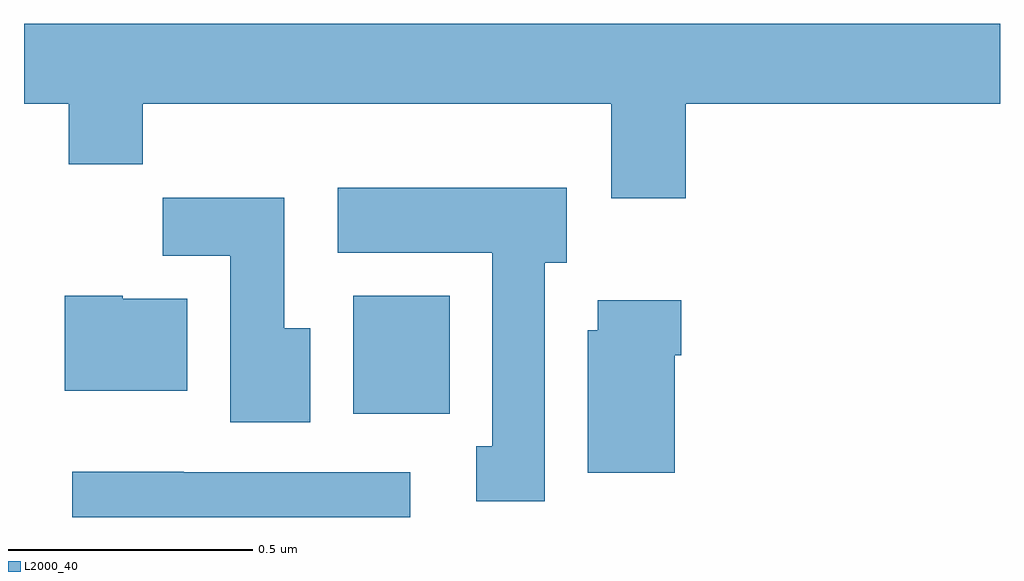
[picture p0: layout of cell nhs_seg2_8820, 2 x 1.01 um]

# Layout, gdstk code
import gdstk
lib = gdstk.Library(unit=1e-6, precision=1e-09)
def R(c, l, rs):  # rectangles x0, y0, x1, y1
    for r in rs: c.add(gdstk.rectangle(r[:2], r[2:], *l))
def P(c, l, *ps):  # polygons
    for p in ps: c.add(gdstk.Polygon(p, *l))
L2000_40 = (2000, 40)

nhs_seg2_8820 = lib.new_cell('nhs_seg2_8820')
R(nhs_seg2_8820, L2000_40, [(221.675,635.012,221.872,635.254)])
P(nhs_seg2_8820, L2000_40, [(222.356,635.648),(223,635.648),(223,635.812),(221,635.812),(221,635.648),(221.092,635.648),(221.092,635.524),(221.243,635.524),(221.243,635.648),(222.203,635.648),(222.203,635.454),(222.356,635.454)],
  [(222.067,635.322),(222.112,635.322),(222.112,635.476),(221.643,635.476),(221.643,635.342),(221.96,635.342),(221.96,634.946),(221.927,634.946),(221.927,634.833),(222.067,634.833)],
  [(221.587,635.188),(221.533,635.188),(221.533,635.455),(221.284,635.455),(221.284,635.336),(221.423,635.336),(221.423,634.995),(221.587,634.995)],
  [(221.335,635.248),(221.202,635.248),(221.202,635.254),(221.084,635.254),(221.084,635.06),(221.335,635.06)],
  [(222.334,635.132),(222.347,635.132),(222.347,635.245),(222.176,635.245),(222.176,635.184),(222.155,635.184),(222.155,634.892),(222.334,634.892)],
  [(221.791,634.893),(221.327,634.893),(221.327,634.894),(221.099,634.894),(221.099,634.8),(221.791,634.8)])

lib.write_gds('nhs_seg2_8820.gds')
